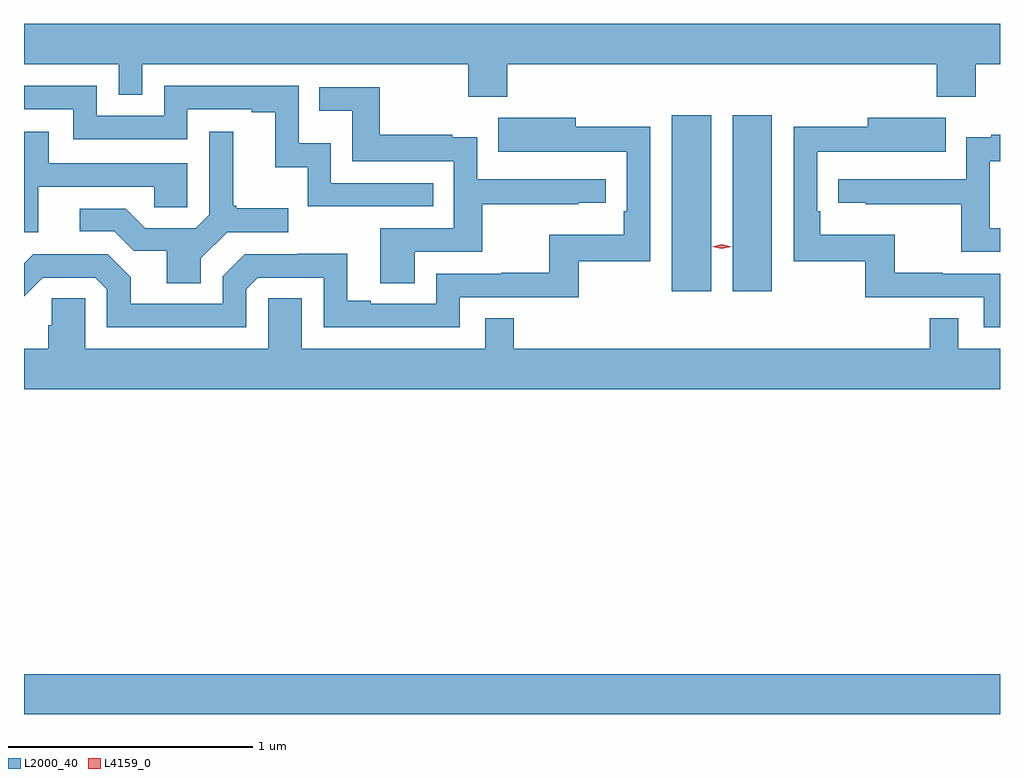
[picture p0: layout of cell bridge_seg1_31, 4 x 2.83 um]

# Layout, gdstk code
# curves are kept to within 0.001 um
import gdstk
lib = gdstk.Library(unit=1e-6, precision=1e-09)
def R(c, l, rs):  # rectangles x0, y0, x1, y1
    for r in rs: c.add(gdstk.rectangle(r[:2], r[2:], *l))
def P(c, l, *ps):  # polygons
    for p in ps: c.add(gdstk.Polygon(p, *l))
L2000_40 = (2000, 40)
L4159_0 = (4159, 0)

bridge_seg1_31 = lib.new_cell('bridge_seg1_31')
R(bridge_seg1_31, L2000_40, [(1064.66,537.08,1068.66,537.244), (1067.315,538.812,1067.476,539.533), (1067.564,538.812,1067.725,539.533)])
P(bridge_seg1_31, L2000_40, [(1066.64,539.744),(1068.401,539.744),(1068.401,539.609),(1068.561,539.609),(1068.561,539.744),(1068.66,539.744),(1068.66,539.908),(1064.66,539.908),(1064.66,539.744),(1065.048,539.744),(1065.048,539.617),(1065.144,539.617),(1065.144,539.744),(1066.48,539.744),(1066.48,539.609),(1066.64,539.609)],
  [(1066.337,539.256),(1065.918,539.256),(1065.918,539.419),(1065.786,539.419),(1065.786,539.655),(1065.234,539.655),(1065.234,539.532),(1064.958,539.532),(1064.958,539.655),(1064.66,539.655),(1064.66,539.559),(1064.862,539.559),(1064.862,539.436),(1065.33,539.436),(1065.33,539.559),(1065.593,539.559),(1065.593,539.547),(1065.689,539.547),(1065.689,539.321),(1065.822,539.321),(1065.822,539.16),(1066.337,539.16)],
  [(1066.261,538.974),(1066.538,538.974),(1066.538,539.17),(1066.931,539.17),(1066.931,539.175),(1067.044,539.175),(1067.044,539.271),(1066.518,539.271),(1066.518,539.443),(1066.415,539.443),(1066.415,539.455),(1066.117,539.455),(1066.117,539.649),(1065.871,539.649),(1065.871,539.552),(1066.006,539.552),(1066.006,539.346),(1066.422,539.346),(1066.422,539.07),(1066.121,539.07),(1066.121,538.846),(1066.261,538.846)],
  [(1068.66,538.884),(1068.425,538.884),(1068.425,538.889),(1068.229,538.889),(1068.229,539.044),(1067.924,539.044),(1067.924,539.14),(1067.91,539.14),(1067.91,539.385),(1068.223,539.385),(1068.223,539.384),(1068.437,539.384),(1068.437,539.524),(1068.119,539.524),(1068.119,539.486),(1067.814,539.486),(1067.814,538.935),(1068.108,538.935),(1068.108,538.788),(1068.594,538.788),(1068.594,538.665),(1068.66,538.665)],
  [(1065.57,538.821),(1065.618,538.869),(1065.888,538.869),(1065.888,538.665),(1066.446,538.665),(1066.446,538.788),(1066.933,538.788),(1066.933,538.935),(1067.226,538.935),(1067.226,539.486),(1066.921,539.486),(1066.921,539.524),(1066.603,539.524),(1066.603,539.384),(1067.13,539.385),(1067.13,539.14),(1067.117,539.14),(1067.117,539.044),(1066.812,539.044),(1066.812,538.889),(1066.615,538.889),(1066.615,538.884),(1066.35,538.884),(1066.35,538.761),(1066.081,538.761),(1066.081,538.774),(1065.985,538.774),(1065.985,538.967),(1065.78,538.967),(1065.78,538.965),(1065.564,538.965),(1065.474,538.875),(1065.474,538.761),(1065.097,538.761),(1065.097,538.871),(1065.003,538.965),(1064.697,538.965),(1064.66,538.928),(1064.66,538.793),(1064.736,538.869),(1064.952,538.869),(1065,538.821),(1065,538.665),(1065.57,538.665)],
  [(1065.385,538.948),(1065.492,539.055),(1065.742,539.055),(1065.742,539.152),(1065.529,539.152),(1065.529,539.164),(1065.517,539.164),(1065.517,539.467),(1065.42,539.467),(1065.42,539.127),(1065.363,539.07),(1065.157,539.07),(1065.076,539.151),(1064.889,539.151),(1064.889,539.058),(1065.03,539.058),(1065.11,538.978),(1065.245,538.978),(1065.245,538.846),(1065.385,538.846)],
  [(1064.719,539.241),(1065.193,539.241),(1065.193,539.157),(1065.33,539.157),(1065.33,539.337),(1064.761,539.337),(1064.761,539.467),(1064.66,539.467),(1064.66,539.055),(1064.719,539.055)],
  [(1068.66,539.07),(1068.618,539.07),(1068.618,539.346),(1068.66,539.346),(1068.66,539.455),(1068.625,539.455),(1068.625,539.443),(1068.522,539.443),(1068.522,539.271),(1067.997,539.271),(1067.997,539.175),(1068.109,539.175),(1068.109,539.17),(1068.502,539.17),(1068.502,538.974),(1068.66,538.974)],
  [(1068.66,538.576),(1068.489,538.576),(1068.489,538.703),(1068.373,538.703),(1068.373,538.576),(1066.667,538.576),(1066.667,538.703),(1066.551,538.703),(1066.551,538.576),(1065.799,538.576),(1065.799,538.784),(1065.66,538.784),(1065.66,538.576),(1064.91,538.576),(1064.91,538.784),(1064.773,538.784),(1064.773,538.674),(1064.759,538.674),(1064.759,538.576),(1064.66,538.576),(1064.66,538.412),(1068.66,538.412)])
P(bridge_seg1_31, L4159_0, [(1067.52,538.986),(1067.48,538.996),(1067.48,538.996),(1067.48,538.996),(1067.52,539.006),(1067.56,538.996),(1067.56,538.996),(1067.56,538.996)])

lib.write_gds('bridge_seg1_31.gds')
